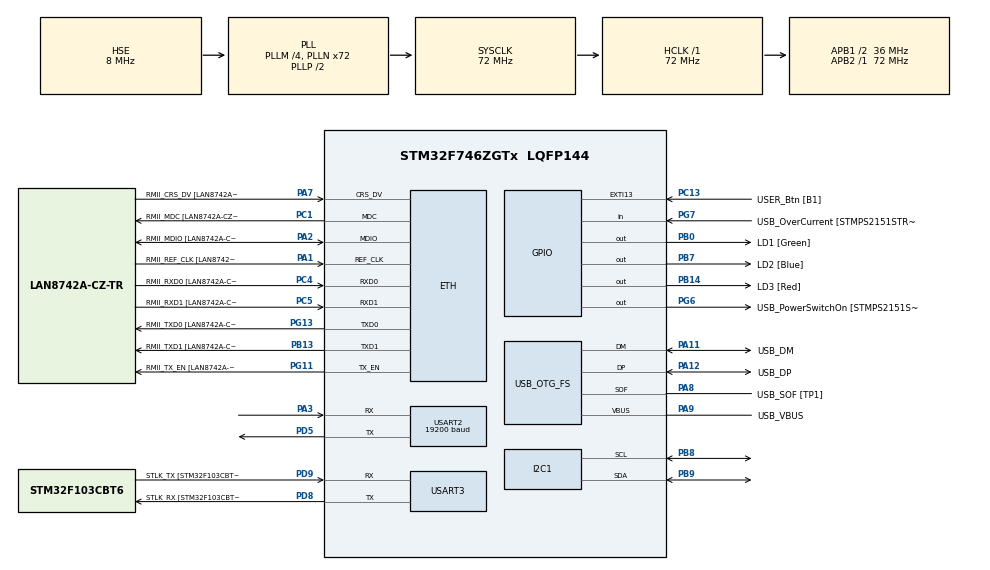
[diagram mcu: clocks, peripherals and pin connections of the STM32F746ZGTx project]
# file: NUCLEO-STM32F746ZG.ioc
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ETH.MediaInterface=ETH_MEDIA_INTERFACE_RMII
ETH.PHY_Name=LAN8742A_PHY_ADDRESS
ETH.PHY_Value=0
ETH.PhyAddress=0
FREERTOS.Tasks01=defaultTask,24,128,StartDefaultTask,Default,NULL,Dynamic,NULL,NULL
I2C1.Timing=0x00808CD2
LWIP.Version=v2.1.2_Cube
Mcu.Family=STM32F7
Mcu.Name=STM32F746ZGTx
Mcu.Package=LQFP144
NVIC.ETH_IRQn=true\:0\:0\:false\:false\:true\:false\:false\:true
NVIC.PriorityGroup=NVIC_PRIORITYGROUP_4
NVIC.TIM6_DAC_IRQn=true\:0\:0\:false\:false\:true\:false\:false\:true
NVIC.TIM7_IRQn=true\:0\:0\:false\:false\:true\:true\:true\:true
NVIC.TimeBase=TIM6_DAC_IRQn
NVIC.TimeBaseIP=TIM6
NVIC.USART2_IRQn=true\:0\:0\:false\:false\:true\:false\:true\:true
PA1.GPIO_Label=RMII_REF_CLK [LAN8742A-CZ-TR_REFCLK0]
PA1.Mode=RMII
PA1.Signal=ETH_REF_CLK
PA10.GPIO_Label=USB_ID
PA10.Signal=USB_OTG_FS_ID
PA11.GPIO_Label=USB_DM
PA11.Mode=Device_Only
PA11.Signal=USB_OTG_FS_DM
PA12.GPIO_Label=USB_DP
PA12.Mode=Device_Only
PA12.Signal=USB_OTG_FS_DP
PA13.GPIO_Label=TMS
PA13.Mode=Serial_Wire
PA13.Signal=SYS_JTMS-SWDIO
PA14.GPIO_Label=TCK
PA14.Mode=Serial_Wire
PA14.Signal=SYS_JTCK-SWCLK
PA2.GPIO_Label=RMII_MDIO [LAN8742A-CZ-TR_MDIO]
PA2.Mode=RMII
PA2.Signal=ETH_MDIO
PA3.Mode=Asynchronous
PA3.Signal=USART2_RX
PA7.GPIO_Label=RMII_CRS_DV [LAN8742A-CZ-TR_CRS_DV]
PA7.Mode=RMII
PA7.Signal=ETH_CRS_DV
PA8.GPIO_Label=USB_SOF [TP1]
PA8.Mode=Activate_SOF_FS
PA8.Signal=USB_OTG_FS_SOF
PA9.GPIO_Label=USB_VBUS
PA9.Mode=Activate_VBUS
PA9.Signal=USB_OTG_FS_VBUS
PB0.GPIO_Label=LD1 [Green]
PB0.Signal=GPIO_Output
PB13.GPIO_Label=RMII_TXD1 [LAN8742A-CZ-TR_TXD1]
PB13.Mode=RMII
PB13.Signal=ETH_TXD1
PB14.GPIO_Label=LD3 [Red]
PB14.Signal=GPIO_Output
PB3.GPIO_Label=SW0
PB3.Signal=SYS_JTDO-SWO
PB7.GPIO_Label=LD2 [Blue]
PB7.Signal=GPIO_Output
PB8.Mode=I2C
PB8.Signal=I2C1_SCL
PB9.Mode=I2C
PB9.Signal=I2C1_SDA
PC1.GPIO_Label=RMII_MDC [LAN8742A-CZ-TR_MDC]
PC1.Mode=RMII
PC1.Signal=ETH_MDC
PC13.GPIO_Label=USER_Btn [B1]
PC13.Signal=GPXTI13
PC14/OSC32_IN.Mode=LSE-External-Oscillator
PC14/OSC32_IN.Signal=RCC_OSC32_IN
PC15/OSC32_OUT.Mode=LSE-External-Oscillator
PC15/OSC32_OUT.Signal=RCC_OSC32_OUT
PC4.GPIO_Label=RMII_RXD0 [LAN8742A-CZ-TR_RXD0]
PC4.Mode=RMII
PC4.Signal=ETH_RXD0
PC5.GPIO_Label=RMII_RXD1 [LAN8742A-CZ-TR_RXD1]
PC5.Mode=RMII
PC5.Signal=ETH_RXD1
PD5.Mode=Asynchronous
PD5.Signal=USART2_TX
PD8.GPIO_Label=STLK_RX [STM32F103CBT6_PA3]
PD8.Mode=Asynchronous
PD8.Signal=USART3_TX
PD9.GPIO_Label=STLK_TX [STM32F103CBT6_PA2]
PD9.Mode=Asynchronous
PD9.Signal=USART3_RX
PG11.GPIO_Label=RMII_TX_EN [LAN8742A-CZ-TR_TXEN]
PG11.Mode=RMII
PG11.Signal=ETH_TX_EN
PG13.GPIO_Label=RMII_TXD0 [LAN8742A-CZ-TR_TXD0]
PG13.Mode=RMII
PG13.Signal=ETH_TXD0
PG6.GPIO_Label=USB_PowerSwitchOn [STMPS2151STR_EN]
PG6.Signal=GPIO_Output
PG7.GPIO_Label=USB_OverCurrent [STMPS2151STR_FAULT]
PG7.Signal=GPIO_Input
PH0/OSC_IN.GPIO_Label=MCO [STM32F103CBT6_PA8]
PH0/OSC_IN.Mode=HSE-External-Clock-Source
PH0/OSC_IN.Signal=RCC_OSC_IN
PH1/OSC_OUT.Mode=HSE-External-Clock-Source
PH1/OSC_OUT.Signal=RCC_OSC_OUT
ProjectManager.HeapSize=0x200
ProjectManager.StackSize=0x400
ProjectManager.TargetToolchain=Makefile
RCC.48MHZClocksFreq_Value=24000000
RCC.AHBFreq_Value=72000000
RCC.APB1CLKDivider=RCC_HCLK_DIV2
RCC.APB1Freq_Value=36000000
RCC.APB1TimFreq_Value=72000000
RCC.APB2Freq_Value=72000000
RCC.APB2TimFreq_Value=72000000
RCC.CortexFreq_Value=72000000
RCC.HCLKFreq_Value=72000000
RCC.HSE_VALUE=8000000
RCC.HSI_VALUE=16000000
RCC.PLLM=4
RCC.PLLMUL=RCC_PLL_MUL9
RCC.PLLN=72
RCC.PLLQ=3
RCC.PRESCALERUSB=RCC_USBCLKSOURCE_PLL_DIV1_5
RCC.SYSCLKFreq_VALUE=72000000
RCC.SYSCLKSource=RCC_SYSCLKSOURCE_PLLCLK
RCC.SYSCLKSourceVirtual=RCC_SYSCLKSOURCE_PLLCLK
RCC.USBFreq_Value=48000000
RCC.VCOOutputFreq_Value=144000000
USART2.AutoBaudRateEnableParam=UART_ADVFEATURE_AUTOBAUDRATE_DISABLE
USART2.BaudRate=19200
USART2.Parity=PARITY_EVEN
USART2.VirtualMode-Asynchronous=VM_ASYNC
USART3.VirtualMode-Asynchronous=VM_ASYNC
USB_OTG_FS.VirtualMode=Device_Only
VP_FREERTOS_VS_CMSIS_V2.Mode=CMSIS_V2
VP_LIBJPEG_VS_JPEGLIB.Mode=Enabled
VP_LWIP_VS_Enabled.Mode=Enabled
VP_SYS_VS_tim6.Mode=TIM6
VP_TIM7_VS_ClockSourceINT.Mode=Enable_Timer
board=NUCLEO-F746ZG

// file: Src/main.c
/* USER CODE BEGIN Header */
/**
  ******************************************************************************
  * @file           : main.c
  * @brief          : Main program body
  ******************************************************************************
  * @attention
  *
  * <h2><center>&copy; Copyright (c) 2020 STMicroelectronics.
  * All rights reserved.</center></h2>
  *
  * This software component is licensed by ST under Ultimate Liberty license
  * SLA0044, the "License"; You may not use this file except in compliance with
  * the License. You may obtain a copy of the License at:
  *                             www.st.com/SLA0044
  *
  ******************************************************************************
  */
/* USER CODE END Header */
#include "main.h"
#include "cmsis_os.h"
#include "libjpeg.h"
#include "lwip.h"

/* USER CODE BEGIN Includes */
#include "KeyPad.h"
#include "stepper.h"
#include "fonts.h"
#include "oled.h"
#include "port.h"

#include <stdio.h>
#include <stdlib.h>
// #include "retarget.h"
/* USER CODE END Includes */

I2C_HandleTypeDef hi2c1;

TIM_HandleTypeDef htim7;

UART_HandleTypeDef huart2;
UART_HandleTypeDef huart3;

PCD_HandleTypeDef hpcd_USB_OTG_FS;

/* Definitions for defaultTask */
osThreadId_t defaultTaskHandle;
const osThreadAttr_t defaultTask_attributes = {
  .name = "defaultTask",
  .priority = (osPriority_t) osPriorityNormal,
  .stack_size = 128 * 4
};
/* USER CODE BEGIN PV */

osThreadId_t blueLEDBlinkTaskHandle;
const osThreadAttr_t blueLEDBlinkTask_attributes = {
    .name = "blueLEDBlinkTask",
    .priority = (osPriority_t)osPriorityLow,
    .stack_size = 128 * 4};

osThreadId_t HMITaskHandle;
const osThreadAttr_t HMITask_attributes = {
    .name = "HMITask",
    .priority = (osPriority_t)osPriorityAboveNormal,
    .stack_size = 128 * 4};

osThreadId_t controlTaskHandle;
const osThreadAttr_t controlTask_attributes = {
    .name = "controlTask",
    .priority = (osPriority_t)osPriorityHigh,
    .stack_size = 128 * 4};

osThreadId_t modbusTaskHandle;
const osThreadAttr_t modbusTask_attributes = {
    .name = "modbusTask",
    .priority = (osPriority_t)osPriorityHigh,
    .stack_size = 128 * 4};

int energyThreshold = 0;
int currentEnergyValue = 0;

/* USER CODE END PV */

void SystemClock_Config(void);
static void MX_GPIO_Init(void);
static void MX_I2C1_Init(void);
static void MX_USART2_UART_Init(void);
static void MX_USART3_UART_Init(void);
static void MX_USB_OTG_FS_PCD_Init(void);
static void MX_TIM7_Init(void);
void StartDefaultTask(void *argument);

/* USER CODE BEGIN PFP */
extern void ModbusRTUTask(void * argument);
extern USHORT* getHoldingRegisters();

void StartBlueLEDBlinkTask(void *argument);
void StartHMITask(void *argument);
void StartControlTask(void *argument);

/* USER CODE END PFP */

int main(void)
{

  /* MCU Configuration--------------------------------------------------------*/

  /* Reset of all peripherals, Initializes the Flash interface and the Systick. */
  HAL_Init();

  /* Configure the system clock */
  SystemClock_Config();

  /* Initialize all configured peripherals */
  MX_GPIO_Init();
  MX_I2C1_Init();
  MX_USART2_UART_Init();
  MX_USART3_UART_Init();
  MX_USB_OTG_FS_PCD_Init();
  MX_LIBJPEG_Init();
  MX_TIM7_Init();
  /* USER CODE BEGIN 2 */
  KeyPad_Init();
  Stepper_Init();

  OLED_Init();

  /* USER CODE END 2 */

  /* Init scheduler */
  osKernelInitialize();

  /* Create the thread(s) */
  /* creation of defaultTask */
  defaultTaskHandle = osThreadNew(StartDefaultTask, NULL, &defaultTask_attributes);

  /* USER CODE BEGIN RTOS_THREADS */
  /* add threads, ... */
  blueLEDBlinkTaskHandle = osThreadNew(StartBlueLEDBlinkTask, NULL, &blueLEDBlinkTask_attributes);
  HMITaskHandle = osThreadNew(StartHMITask, NULL, &HMITask_attributes);
  controlTaskHandle = osThreadNew(StartControlTask, NULL, &controlTask_attributes);
  modbusTaskHandle = osThreadNew(ModbusRTUTask, NULL, &modbusTask_attributes);
  /* USER CODE END RTOS_THREADS */

  /* Start scheduler */
  osKernelStart();

  /* We should never get here as control is now taken by the scheduler */
  /* Infinite loop */
  while (1)
  {

  }
}

void SystemClock_Config(void)
{
  RCC_OscInitTypeDef RCC_OscInitStruct = {0};
  RCC_ClkInitTypeDef RCC_ClkInitStruct = {0};
  RCC_PeriphCLKInitTypeDef PeriphClkInitStruct = {0};

  /** Configure LSE Drive Capability
  */
  HAL_PWR_EnableBkUpAccess();
  /** Configure the main internal regulator output voltage
  */
  __HAL_RCC_PWR_CLK_ENABLE();
  __HAL_PWR_VOLTAGESCALING_CONFIG(PWR_REGULATOR_VOLTAGE_SCALE3);
  /** Initializes the RCC Oscillators according to the specified parameters
  * in the RCC_OscInitTypeDef structure.
  */
  RCC_OscInitStruct.OscillatorType = RCC_OSCILLATORTYPE_HSE;
  RCC_OscInitStruct.HSEState = RCC_HSE_BYPASS;
  RCC_OscInitStruct.PLL.PLLState = RCC_PLL_ON;
  RCC_OscInitStruct.PLL.PLLSource = RCC_PLLSOURCE_HSE;
  RCC_OscInitStruct.PLL.PLLM = 4;
  RCC_OscInitStruct.PLL.PLLN = 72;
  RCC_OscInitStruct.PLL.PLLP = RCC_PLLP_DIV2;
  RCC_OscInitStruct.PLL.PLLQ = 3;
  if (HAL_RCC_OscConfig(&RCC_OscInitStruct) != HAL_OK)
  {
    Error_Handler();
  }
  /** Initializes the CPU, AHB and APB buses clocks
  */
  RCC_ClkInitStruct.ClockType = RCC_CLOCKTYPE_HCLK|RCC_CLOCKTYPE_SYSCLK
                              |RCC_CLOCKTYPE_PCLK1|RCC_CLOCKTYPE_PCLK2;
  RCC_ClkInitStruct.SYSCLKSource = RCC_SYSCLKSOURCE_PLLCLK;
  RCC_ClkInitStruct.AHBCLKDivider = RCC_SYSCLK_DIV1;
  RCC_ClkInitStruct.APB1CLKDivider = RCC_HCLK_DIV2;
  RCC_ClkInitStruct.APB2CLKDivider = RCC_HCLK_DIV1;

  if (HAL_RCC_ClockConfig(&RCC_ClkInitStruct, FLASH_LATENCY_2) != HAL_OK)
  {
    Error_Handler();
  }
  PeriphClkInitStruct.PeriphClockSelection = RCC_PERIPHCLK_USART2|RCC_PERIPHCLK_USART3
                              |RCC_PERIPHCLK_I2C1|RCC_PERIPHCLK_CLK48;
  PeriphClkInitStruct.Usart2ClockSelection = RCC_USART2CLKSOURCE_PCLK1;
  PeriphClkInitStruct.Usart3ClockSelection = RCC_USART3CLKSOURCE_PCLK1;
  PeriphClkInitStruct.I2c1ClockSelection = RCC_I2C1CLKSOURCE_PCLK1;
  PeriphClkInitStruct.Clk48ClockSelection = RCC_CLK48SOURCE_PLL;
  if (HAL_RCCEx_PeriphCLKConfig(&PeriphClkInitStruct) != HAL_OK)
  {
    Error_Handler();
  }
}

static void MX_I2C1_Init(void)
{

  hi2c1.Instance = I2C1;
  hi2c1.Init.Timing = 0x00808CD2;
  hi2c1.Init.OwnAddress1 = 0;
  hi2c1.Init.AddressingMode = I2C_ADDRESSINGMODE_7BIT;
  hi2c1.Init.DualAddressMode = I2C_DUALADDRESS_DISABLE;
  hi2c1.Init.OwnAddress2 = 0;
  hi2c1.Init.OwnAddress2Masks = I2C_OA2_NOMASK;
  hi2c1.Init.GeneralCallMode = I2C_GENERALCALL_DISABLE;
  hi2c1.Init.NoStretchMode = I2C_NOSTRETCH_DISABLE;
  if (HAL_I2C_Init(&hi2c1) != HAL_OK)
  {
    Error_Handler();
  }
  /** Configure Analogue filter
  */
  if (HAL_I2CEx_ConfigAnalogFilter(&hi2c1, I2C_ANALOGFILTER_ENABLE) != HAL_OK)
  {
    Error_Handler();
  }
  /** Configure Digital filter
  */
  if (HAL_I2CEx_ConfigDigitalFilter(&hi2c1, 0) != HAL_OK)
  {
    Error_Handler();
  }

}

static void MX_TIM7_Init(void)
{

  TIM_MasterConfigTypeDef sMasterConfig = {0};

  htim7.Instance = TIM7;
  htim7.Init.Prescaler = 0;
  htim7.Init.CounterMode = TIM_COUNTERMODE_UP;
  htim7.Init.Period = 65535;
  htim7.Init.AutoReloadPreload = TIM_AUTORELOAD_PRELOAD_DISABLE;
  if (HAL_TIM_Base_Init(&htim7) != HAL_OK)
  {
    Error_Handler();
  }
  sMasterConfig.MasterOutputTrigger = TIM_TRGO_RESET;
  sMasterConfig.MasterSlaveMode = TIM_MASTERSLAVEMODE_DISABLE;
  if (HAL_TIMEx_MasterConfigSynchronization(&htim7, &sMasterConfig) != HAL_OK)
  {
    Error_Handler();
  }

}

static void MX_USART2_UART_Init(void)
{

  huart2.Instance = USART2;
  huart2.Init.BaudRate = 19200;
  huart2.Init.WordLength = UART_WORDLENGTH_8B;
  huart2.Init.StopBits = UART_STOPBITS_1;
  huart2.Init.Parity = UART_PARITY_EVEN;
  huart2.Init.Mode = UART_MODE_TX_RX;
  huart2.Init.HwFlowCtl = UART_HWCONTROL_NONE;
  huart2.Init.OverSampling = UART_OVERSAMPLING_16;
  huart2.Init.OneBitSampling = UART_ONE_BIT_SAMPLE_DISABLE;
  huart2.AdvancedInit.AdvFeatureInit = UART_ADVFEATURE_NO_INIT;
  if (HAL_UART_Init(&huart2) != HAL_OK)
  {
    Error_Handler();
  }

}

static void MX_USART3_UART_Init(void)
{

  huart3.Instance = USART3;
  huart3.Init.BaudRate = 115200;
  huart3.Init.WordLength = UART_WORDLENGTH_8B;
  huart3.Init.StopBits = UART_STOPBITS_1;
  huart3.Init.Parity = UART_PARITY_NONE;
  huart3.Init.Mode = UART_MODE_TX_RX;
  huart3.Init.HwFlowCtl = UART_HWCONTROL_NONE;
  huart3.Init.OverSampling = UART_OVERSAMPLING_16;
  huart3.Init.OneBitSampling = UART_ONE_BIT_SAMPLE_DISABLE;
  huart3.AdvancedInit.AdvFeatureInit = UART_ADVFEATURE_NO_INIT;
  if (HAL_UART_Init(&huart3) != HAL_OK)
  {
    Error_Handler();
  }

}

static void MX_USB_OTG_FS_PCD_Init(void)
{

  hpcd_USB_OTG_FS.Instance = USB_OTG_FS;
  hpcd_USB_OTG_FS.Init.dev_endpoints = 6;
  hpcd_USB_OTG_FS.Init.speed = PCD_SPEED_FULL;
  hpcd_USB_OTG_FS.Init.dma_enable = DISABLE;
  hpcd_USB_OTG_FS.Init.phy_itface = PCD_PHY_EMBEDDED;
  hpcd_USB_OTG_FS.Init.Sof_enable = ENABLE;
  hpcd_USB_OTG_FS.Init.low_power_enable = DISABLE;
  hpcd_USB_OTG_FS.Init.lpm_enable = DISABLE;
  hpcd_USB_OTG_FS.Init.vbus_sensing_enable = ENABLE;
  hpcd_USB_OTG_FS.Init.use_dedicated_ep1 = DISABLE;
  if (HAL_PCD_Init(&hpcd_USB_OTG_FS) != HAL_OK)
  {
    Error_Handler();
  }

}

static void MX_GPIO_Init(void)
{
  GPIO_InitTypeDef GPIO_InitStruct = {0};

  /* GPIO Ports Clock Enable */
  __HAL_RCC_GPIOC_CLK_ENABLE();
  __HAL_RCC_GPIOH_CLK_ENABLE();
  __HAL_RCC_GPIOA_CLK_ENABLE();
  __HAL_RCC_GPIOB_CLK_ENABLE();
  __HAL_RCC_GPIOD_CLK_ENABLE();
  __HAL_RCC_GPIOG_CLK_ENABLE();
  __HAL_RCC_GPIOE_CLK_ENABLE();
  __HAL_RCC_GPIOF_CLK_ENABLE();

  /*Configure GPIO pin Output Level */
  HAL_GPIO_WritePin(GPIOB, LD1_Pin|LD3_Pin|LD2_Pin, GPIO_PIN_RESET);

  /*Configure GPIO pin Output Level */
  HAL_GPIO_WritePin(USB_PowerSwitchOn_GPIO_Port, USB_PowerSwitchOn_Pin, GPIO_PIN_RESET);

  /*Configure GPIO pin : USER_Btn_Pin */
  GPIO_InitStruct.Pin = USER_Btn_Pin;
  GPIO_InitStruct.Mode = GPIO_MODE_IT_RISING;
  GPIO_InitStruct.Pull = GPIO_NOPULL;
  HAL_GPIO_Init(USER_Btn_GPIO_Port, &GPIO_InitStruct);

  /*Configure GPIO pins : LD1_Pin LD3_Pin LD2_Pin */
  GPIO_InitStruct.Pin = LD1_Pin|LD3_Pin|LD2_Pin;
  GPIO_InitStruct.Mode = GPIO_MODE_OUTPUT_PP;
  GPIO_InitStruct.Pull = GPIO_NOPULL;
  GPIO_InitStruct.Speed = GPIO_SPEED_FREQ_LOW;
  HAL_GPIO_Init(GPIOB, &GPIO_InitStruct);

  /*Configure GPIO pin : USB_PowerSwitchOn_Pin */
  GPIO_InitStruct.Pin = USB_PowerSwitchOn_Pin;
  GPIO_InitStruct.Mode = GPIO_MODE_OUTPUT_PP;
  GPIO_InitStruct.Pull = GPIO_NOPULL;
  GPIO_InitStruct.Speed = GPIO_SPEED_FREQ_LOW;
  HAL_GPIO_Init(USB_PowerSwitchOn_GPIO_Port, &GPIO_InitStruct);

  /*Configure GPIO pin : USB_OverCurrent_Pin */
  GPIO_InitStruct.Pin = USB_OverCurrent_Pin;
  GPIO_InitStruct.Mode = GPIO_MODE_INPUT;
  GPIO_InitStruct.Pull = GPIO_NOPULL;
  HAL_GPIO_Init(USB_OverCurrent_GPIO_Port, &GPIO_InitStruct);

}

/* USER CODE BEGIN 4 */

void StartBlueLEDBlinkTask(void *argument)
{
  printf("Started Blue LED Task\n");
  for (;;)
  {
    HAL_GPIO_TogglePin(GPIOB, GPIO_PIN_7);
    osDelay(500);
  }
}

void StartHMITask(void *argument)
{
  int flag = 0;
  int position = 0;
  char thresh[32] = "";
  for (;;)
  {
    while (flag == 1)
    {
      char ch = KeyPad_WaitForKeyGetChar(0);
      if (ch == 'B')
      {
        thresh[position] = '\0';
        flag = 0;
        position = 0;
        energyThreshold = atoi(thresh);
        break;
      }
      OLED_WriteChar(ch, Font_7x10, White);
      OLED_UpdateScreen();
      thresh[position] = ch;
      position++;
    }

    char thstr[32];
    sprintf(thstr, "%d", energyThreshold);
    OLED_Fill(Black);
    OLED_SetCursor(1, 1);
    OLED_WriteString("Home", Font_7x10, White);
    OLED_SetCursor(1, 12);
    OLED_WriteString("Set Thresh: ", Font_7x10, White);
    OLED_WriteString(thstr, Font_7x10, White);
    OLED_SetCursor(1, 48);
    OLED_WriteString("Press A to Set", Font_7x10, White);
    OLED_UpdateScreen();
    char ch = KeyPad_WaitForKeyGetChar(0);
    if (ch == 'A')
    {
      OLED_Fill(Black);
      OLED_SetCursor(1, 1);
      OLED_WriteString("Settings", Font_7x10, White);
      OLED_SetCursor(1, 12);
      OLED_WriteString("Set Thresh:", Font_7x10, White);
      OLED_WriteString(thstr, Font_7x10, White);
      OLED_SetCursor(1, 24);
      OLED_WriteString("New Threshold:", Font_7x10, White);
      OLED_SetCursor(1, 48);
      OLED_WriteString("Press B to Confirm", Font_7x10, White);
      OLED_SetCursor(1, 36);
      OLED_UpdateScreen();
      flag = 1;
    }
  }
}

void StartControlTask(void *argument)
{
  for (;;)
  {
    if (currentEnergyValue > energyThreshold)
    {
      Stepper_Rotate_Reverse(30);
      currentEnergyValue -= 200;
    }
    if (energyThreshold > currentEnergyValue)
    {
      Stepper_Rotate(30);
      currentEnergyValue += 200;
    }
    osDelay(1000);
  }
}

/* USER CODE END 4 */

void StartDefaultTask(void *argument)
{
  /* init code for LWIP */
  MX_LWIP_Init();
  /* USER CODE BEGIN 5 */
  /* Infinite loop */
  OLED_SetCursor(1, 1);
  OLED_WriteString("Started Program", Font_7x10, White);

  OLED_UpdateScreen();

  for (;;)
  {
    HAL_GPIO_TogglePin(GPIOB, GPIO_PIN_14);
    osDelay(2000);
  }
  /* USER CODE END 5 */
}

void HAL_TIM_PeriodElapsedCallback(TIM_HandleTypeDef *htim)
{
  if (htim->Instance == TIM6) {
    HAL_IncTick();
  }
}

void Error_Handler(void)
{
}

/************************ (C) COPYRIGHT STMicroelectronics *****END OF FILE****/
